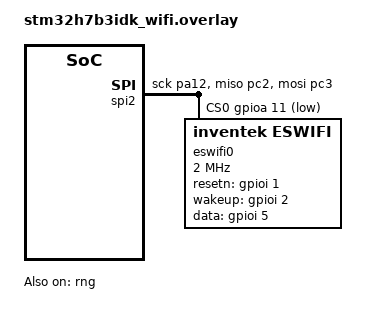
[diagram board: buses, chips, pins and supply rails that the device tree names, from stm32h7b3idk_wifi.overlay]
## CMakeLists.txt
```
cmake_minimum_required(VERSION 3.20.0)

set(DTC_OVERLAY_FILE
    "${CMAKE_CURRENT_SOURCE_DIR}/stm32h7b3idk_wifi.overlay"
    "${CMAKE_CURRENT_SOURCE_DIR}/stm32h7b3idk_backlight.overlay"
)

find_package(Zephyr REQUIRED HINTS $ENV{ZEPHYR_BASE})
project(stm32h7b3i_wifi_demo)

target_include_directories(app PRIVATE
    ${CMAKE_CURRENT_SOURCE_DIR}/include
)

target_sources(app PRIVATE 
    src/main.c
    src/display.c
    src/backlight.c
    src/gui_wifi.c
    src/gui_wifi_scan.c
    src/gui_wifi_register.c
    src/wifi_connection.c
)
```

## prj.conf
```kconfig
# System
CONFIG_MAIN_STACK_SIZE=8192
CONFIG_NET_MGMT_EVENT_STACK_SIZE=4096

# Shell
CONFIG_SHELL=n
CONFIG_NET_SHELL=n
CONFIG_NET_L2_WIFI_SHELL=n
CONFIG_SHELL_BACKEND_SERIAL=n
CONFIG_WIFI_ESWIFI_SHELL=n

# Log
CONFIG_LOG=y
CONFIG_LV_USE_LOG=y

# Display
CONFIG_DISPLAY=y
CONFIG_DISPLAY_LOG_LEVEL_ERR=y

# Touchscreen
CONFIG_INPUT=y

# LVGL
CONFIG_LVGL=y
CONFIG_LV_Z_PARTIAL_REFRESH=y
CONFIG_LV_Z_MEM_POOL_SIZE=65536
CONFIG_LV_DEF_REFR_PERIOD=16

CONFIG_LV_USE_LABEL=y

# LVGL fonts
CONFIG_LV_FONT_MONTSERRAT_14=y
CONFIG_LV_FONT_MONTSERRAT_20=y
CONFIG_LV_FONT_MONTSERRAT_36=y

# Peripherial
CONFIG_GPIO=y
CONFIG_SPI=y
CONFIG_PWM=y

# Network
CONFIG_NETWORKING=y
CONFIG_NET_IPV4=y
CONFIG_WIFI=y

CONFIG_WIFI_ESWIFI=y
CONFIG_WIFI_ESWIFI_BUS_SPI=y
CONFIG_NET_MGMT_EVENT_INFO=y

# Hardware RNG
CONFIG_ENTROPY_GENERATOR=y
CONFIG_ENTROPY_STM32_RNG=y
CONFIG_ENTROPY_DEVICE_RANDOM_GENERATOR=y
```

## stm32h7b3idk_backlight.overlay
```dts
#include <zephyr/dt-bindings/pinctrl/stm32-pinctrl.h>
#include <zephyr/dt-bindings/pwm/pwm.h>

/ {
    backlight {
        compatible = "pwm-leds";

        lcd_backlight: lcd_backlight {
            pwms = <&pwm2 2 50000 PWM_POLARITY_NORMAL>;
            label = "LCD Backlight";
        };
    };
};

&pinctrl {
    lcd_backlight_pwm_pin: lcd_backlight_pwm_pin {
        pinmux = <STM32_PINMUX('A', 1, AF1)>;
    };
};

&timers2 {
    status = "okay";

    pwm2: pwm {
        status = "okay";
        pinctrl-0 = <&lcd_backlight_pwm_pin>;
        pinctrl-names = "default";
    };
};

&ltdc {
    /delete-property/ bl-ctrl-gpios;
};
```

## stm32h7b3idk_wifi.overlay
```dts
#include <zephyr/dt-bindings/gpio/gpio.h>

/ {
    chosen {
        zephyr,entropy = &rng;
    };
};

&rng {
    status = "okay";
};

/ {
    aliases {
        wifi0 = &eswifi0;
    };
};

&fdcan1 {
    status = "disabled";
};

&spi2 {
    pinctrl-0 = <&spi2_sck_pa12
                 &spi2_miso_pc2
                 &spi2_mosi_pc3>;
    pinctrl-names = "default";

    cs-gpios = <&gpioa 11 GPIO_ACTIVE_LOW>;

    status = "okay";

    eswifi0: wifi@0 {
        compatible = "inventek,eswifi";
        reg = <0>;
        spi-max-frequency = <2000000>;

        spi-cs-setup-delay-ns = <15000>;
        spi-cs-hold-delay-ns = <15000>;

        resetn-gpios = <&gpioi 1 GPIO_ACTIVE_HIGH>;
        wakeup-gpios = <&gpioi 2 GPIO_ACTIVE_HIGH>;
        data-gpios = <&gpioi 5 GPIO_ACTIVE_HIGH>;

        status = "okay";
    };
};
```

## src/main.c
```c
/*****************************************************************************
                                    INCLUDES
*****************************************************************************/
#include <zephyr/kernel.h>
#include <zephyr/logging/log.h>

#include <lvgl.h>

#include <display.h>
#include <backlight.h>
#include <theme.h>

#include <gui_wifi.h>
#include <gui_wifi_scan.h>
#include <gui_wifi_register.h>


/*****************************************************************************
                          PRIVATE DEFINES / MACROS
*****************************************************************************/
LOG_MODULE_REGISTER(app_main, LOG_LEVEL_INF);

#define MAIN_LOOP_PERIOD_MS (10U)
#define PERF_PRINT_REPORT   (false)
#define ENABLE_BTN_ANIM     (true)


/*****************************************************************************
                     PRIVATE STRUCTS / ENUMS / VARIABLES
*****************************************************************************/

/*****************************************************************************
                         PRIVATE FUNCTION DECLARATIONS
*****************************************************************************/

/*****************************************************************************
                       PRIVATE FUNCTION IMPLEMENTATIONS
*****************************************************************************/

/*****************************************************************************
                           INTERFACE IMPLEMENTATION
*****************************************************************************/
int main(void)
{
    int ret = 0;

    ret = app_display_init(lv_color_hex(CHOZO_DARK_BLUE));
    if (0 != ret) {
        LOG_ERR("Display initialization failed: %d", ret);
        return 0;
    }

    (void)lv_timer_handler();

    ret = app_display_enable();
    if (0 != ret) {
        LOG_ERR("Failed to enable display: %d", ret);
        return 0;
    }

    backlight_btn_t colors = {
        .background = lv_color_hex(CHOZO_DARK_BLUE),
        .icon = lv_color_hex(DARK_SAMUS_BLUE),
        .border = lv_color_hex(SAMUS_GREEN),
    };
    backlight_button_create(lv_screen_active(), colors, ENABLE_BTN_ANIM);

    app_display_create_version_label(lv_screen_active(), lv_color_hex(SAMUS_GREEN));

    ret = gui_wifi_init(lv_screen_active(), lv_color_hex(CHOZO_DARK_BLUE), 
                        lv_color_hex(SAMUS_GREEN));
    if (0 != ret) {
        LOG_ERR("Wi-Fi GUI initialization failed: %d", ret);
    return 0;
    }

    while (true) {
        gui_wifi_scan_process();
        gui_wifi_process();

        (void)lv_timer_handler();
        k_sleep(K_MSEC(MAIN_LOOP_PERIOD_MS));
    }
}
```

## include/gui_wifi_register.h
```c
/**
 * @file gui_wifi_register.h
 * @brief Wi-Fi connection registration and LVGL user interface.
 *
 * Provides functions for managing network credentials through
 * an on-screen keyboard, initiating connection and disconnection,
 * and updating the interface based on Wi-Fi connection states.
 */

#ifndef GUI_WIFI_REGISTER_H
#define GUI_WIFI_REGISTER_H

/*****************************************************************************
                                    INCLUDES
*****************************************************************************/
#include <lvgl.h>


/*****************************************************************************
                       PUBLIC DEFINES / MACROS / ENUMS
*****************************************************************************/

/*****************************************************************************
                         PUBLIC INTERFACE DECLARATION
*****************************************************************************/
/**
 * @brief Create the Wi-Fi registration UI on an existing screen.
 * @param [in] screen Registration screen created by the GUI navigation module.
 * @param [in] accent Accent color used by the application theme.
 * @return 0 on success, negative errno on failure.
 */
int gui_wifi_register_init(lv_obj_t *screen, lv_color_t accent);

/**
 * @brief Refresh the registration screen when entering it.
 */
void gui_wifi_register_open(void);

/**
 * @brief Process pending Wi-Fi connection events.
 * @note Must be called periodically from the LVGL thread.
 */
void gui_wifi_register_process(void);

/**
 * @brief Clear the password and reset keyboard focus when leaving the screen.
 */
void gui_wifi_register_close(void);

#endif // GUI_WIFI_REGISTER_H
```

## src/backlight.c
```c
/*****************************************************************************
                                    INCLUDES
*****************************************************************************/
#include <backlight.h>

#include <zephyr/device.h>
#include <zephyr/devicetree.h>
#include <zephyr/drivers/pwm.h>
#include <zephyr/kernel.h>
#include <zephyr/logging/log.h>


/*****************************************************************************
                          PRIVATE DEFINES / MACROS
*****************************************************************************/
LOG_MODULE_REGISTER(backlight, LOG_LEVEL_INF);

#define BACKLIGHT_NODE DT_NODELABEL(lcd_backlight)
#define BACKLIGHT_LOW_PERCENT   (35U)
#define BACKLIGHT_HIGH_PERCENT  (85U)
#define BACKLIGHT_PERCENT_MAX   (100U)


/*****************************************************************************
                     PRIVATE STRUCTS / ENUMS / VARIABLES
*****************************************************************************/
static bool backlight_high = true;
static lv_obj_t *backlight_button = NULL;
static lv_obj_t *backlight_icon = NULL;

static const struct pwm_dt_spec backlight = PWM_DT_SPEC_GET(BACKLIGHT_NODE);


/*****************************************************************************
                         PRIVATE FUNCTION DECLARATIONS
*****************************************************************************/

/*****************************************************************************
                       PRIVATE FUNCTION IMPLEMENTATIONS
*****************************************************************************/
static void backlight_button_cb(lv_event_t *event)
{
    int ret = 0;
    uint32_t brightness = BACKLIGHT_LOW_PERCENT;

    ARG_UNUSED(event);

    brightness = (true == backlight_high) ? (BACKLIGHT_LOW_PERCENT) : (BACKLIGHT_HIGH_PERCENT);
    ret = backlight_set_brightness(brightness);
    if (0 != ret) {
        LOG_ERR("Backlight PWM error: %d", ret);
        return;
    }

    backlight_high = !backlight_high;
    lv_label_set_text(backlight_icon, (true == backlight_high) ? (LV_SYMBOL_EYE_OPEN) : (LV_SYMBOL_EYE_CLOSE));
}


/*****************************************************************************
                           INTERFACE IMPLEMENTATION
*****************************************************************************/
int backlight_set_brightness(uint32_t percent)
{
    uint32_t pulse_ns = 0U;

    if (BACKLIGHT_PERCENT_MAX < percent) {
        return -EINVAL;
    }

    pulse_ns = (uint32_t)(((uint64_t)backlight.period * percent) / BACKLIGHT_PERCENT_MAX);
    return pwm_set_dt(&backlight, backlight.period, pulse_ns);
}

uint32_t backlight_get_brightness(void)
{
    return (true == backlight_high) ? (BACKLIGHT_HIGH_PERCENT) : (BACKLIGHT_LOW_PERCENT);
}

void backlight_button_create(lv_obj_t *screen, backlight_btn_t colors, bool enable_anim)
{
    backlight_button = lv_button_create(screen);

    if (true != enable_anim) {
        lv_obj_remove_style_all(backlight_button);
    }

    lv_obj_set_size(backlight_button, 42, 42);
    lv_obj_align(backlight_button, LV_ALIGN_TOP_LEFT, 8, 8);
    lv_obj_set_style_radius(backlight_button, LV_RADIUS_CIRCLE, 0);
    lv_obj_set_style_bg_color(backlight_button, colors.background, 0);
    lv_obj_set_style_bg_opa(backlight_button, LV_OPA_COVER, 0);

    lv_obj_set_style_border_width(backlight_button, 2, 0);
    lv_obj_set_style_border_color(backlight_button, colors.border, 0);

    lv_obj_add_event_cb(backlight_button, backlight_button_cb, LV_EVENT_CLICKED, NULL);

    backlight_icon = lv_label_create(backlight_button);
    lv_label_set_text(backlight_icon, LV_SYMBOL_EYE_OPEN);
    lv_obj_center(backlight_icon);
    lv_obj_set_style_text_color(backlight_icon, colors.icon, 0);
}

int backlight_init(void) 
{
    int ret = 0;

    if (true != pwm_is_ready_dt(&backlight)) {
        LOG_ERR("Backlight PWM device not ready");
        return -ENODEV;
    }

    ret = backlight_set_brightness(BACKLIGHT_HIGH_PERCENT);
    if (0 != ret) {
        LOG_ERR("Backlight PWM error: %d", ret);
    }

    return ret;
}
```

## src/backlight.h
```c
/**
 * @file backlight.h
 * @brief LCD backlight control and LVGL user interface.
 *
 * Provides an interface for initializing the LCD backlight
 * and creating an LVGL button to control its brightness.
 */

#ifndef BACKLIGHT_H
#define BACKLIGHT_H

/*****************************************************************************
                                    INCLUDES
*****************************************************************************/
#include <stdint.h>

#include <lvgl.h>


/*****************************************************************************
                       PUBLIC DEFINES / MACROS / ENUMS
*****************************************************************************/

/*****************************************************************************
                         PUBLIC INTERFACE DECLARATION
*****************************************************************************/
/**
 * @brief Color configuration for the backlight control button.
 * @note Defines the colors used by the LVGL backlight button and its graphical elements.
 */
typedef struct {
    lv_color_t background;
    lv_color_t icon;
    lv_color_t border;
} backlight_btn_t;

/**
 * @brief Create an LVGL button for controlling the LCD backlight.
 * @param [in] screen Parent LVGL object.
 * @param [in] colors Color configuration for the button.
 * @param [in] enable_anim Enable button animation.
 */
void backlight_button_create(lv_obj_t *screen, backlight_btn_t colors, bool enable_anim);

/**
 * @brief Initialize the LCD backlight.
 * @return 0 Initialization completed successfully, error code if initialization fails.
 */
int backlight_init(void);

/**
 * @brief Set LCD backlight brightness.
 * @param[in] percent Brightness in the range 0-100%.
 * @retval 0 Brightness updated successfully.
 * @retval <0 PWM configuration failed.
 */
int backlight_set_brightness(uint32_t percent);

/**
 * @brief Get the user-selected backlight brightness.
 * @return Brightness percentage.
 */
uint32_t backlight_get_brightness(void);

#endif // BACKLIGHT_H
```

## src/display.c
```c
/*****************************************************************************
                                    INCLUDES
*****************************************************************************/
#include <errno.h>
#include <stdio.h>

#include <zephyr/device.h>
#include <zephyr/devicetree.h>
#include <zephyr/drivers/display.h>
#include <zephyr/logging/log.h>
#include <zephyr/version.h>

#include <lvgl.h>

#include <backlight.h>
#include <display.h>
#include <theme.h>


/*****************************************************************************
                          PRIVATE DEFINES / MACROS
*****************************************************************************/
LOG_MODULE_REGISTER(app_display, LOG_LEVEL_INF);

#define VERSION_TEXT_SIZE   (64U)
#define VERSION_LABEL_Y_POS (12)


/*****************************************************************************
                     PRIVATE STRUCTS / ENUMS / VARIABLES
*****************************************************************************/
static const struct device *display_dev = DEVICE_DT_GET(DT_CHOSEN(zephyr_display));


/*****************************************************************************
                         PRIVATE FUNCTION DECLARATIONS
*****************************************************************************/

/*****************************************************************************
                       PRIVATE FUNCTION IMPLEMENTATIONS
*****************************************************************************/

/*****************************************************************************
                           INTERFACE IMPLEMENTATION
*****************************************************************************/
int app_display_init(lv_color_t color_bg)
{
    lv_display_t *display = NULL;
    lv_obj_t *screen = NULL;

    if (false == device_is_ready(display_dev)) {
        LOG_ERR("Display device not ready");
        return -ENODEV;
    }

    display = lv_display_get_default();
    if (NULL == display) {
        LOG_ERR("No LVGL display");
        return -ENODEV;
    }

    screen = lv_screen_active();
    if (NULL == screen) {
        LOG_ERR("No active LVGL screen");
        return -ENODEV;
    }

    lv_obj_set_style_bg_color(screen, color_bg, LV_PART_MAIN);
    lv_obj_set_style_bg_opa(screen, LV_OPA_COVER, LV_PART_MAIN);

    lv_obj_set_scrollable(screen, false);

    return 0;
}

int app_display_enable(void)
{
    int ret = 0;

    ret = display_blanking_off(display_dev);
    if ((0 > ret) && (-ENOSYS != ret)) {
        LOG_ERR("Failed to disable display blanking: %d", ret);
        return ret;
    }

    ret = backlight_init();
    if (0 != ret) {
        LOG_WRN("Backlight initialization failed: %d", ret);
    }

    return 0;
}

void app_display_create_version_label(lv_obj_t *screen, lv_color_t text_color)
{
    if (NULL == screen) {
        return;
    }

    lv_obj_t *version_label = NULL;
    char version_text[VERSION_TEXT_SIZE] = {0};

    (void)snprintf(version_text, sizeof(version_text),
                   "Zephyr %u.%u x LVGL %u.%u",
                   (unsigned int)KERNEL_VERSION_MAJOR, (unsigned int)KERNEL_VERSION_MINOR,
                   (unsigned int)lv_version_major(), (unsigned int)lv_version_minor());
    version_label = lv_label_create(screen);
    if (NULL == version_label) {
        LOG_ERR("Failed to create version label");
        return;
    }

    lv_label_set_text(version_label, version_text);
    lv_obj_set_style_text_font(version_label, &lv_font_montserrat_20, LV_PART_MAIN);
    lv_obj_set_style_text_color(version_label, text_color, LV_PART_MAIN);
    lv_obj_set_style_text_align(version_label, LV_TEXT_ALIGN_CENTER, LV_PART_MAIN);
    lv_obj_align(version_label, LV_ALIGN_TOP_MID, 0, VERSION_LABEL_Y_POS);
}
```

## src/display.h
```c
/**
 * @file display.h
 * @brief Display initialization and LVGL user interface setup.
 *
 * Provides functions for initializing the application display,
 * configuring the LVGL screen, and enabling the LCD backlight.
 */

#ifndef DISPLAY_H
#define DISPLAY_H

/*****************************************************************************
                                    INCLUDES
*****************************************************************************/
#include <lvgl.h>


/*****************************************************************************
                       PUBLIC DEFINES / MACROS / ENUMS
*****************************************************************************/

/*****************************************************************************
                         PUBLIC INTERFACE DECLARATION
*****************************************************************************/
/**
 * @brief Initialize the display user interface.
 * @param [in] color_bg Screen backgroud color.
 * @retval 0 Initialization completed successfully.
 * @retval -ENODEV Display device or LVGL display is unavailable.
 */
int app_display_init(lv_color_t color_bg);

/**
 * @brief Enable the display and initialize its backlight.
 * @retval 0 Display enabled successfully.
 * @retval <0 Failed to disable display blanking.
 */
int app_display_enable(void);

/**
 * @brief Create an LVGL label displaying Zephyr and LVGL versions.
 * @param [in] screen Parent LVGL object.
 * @param [in] text_color Text color.
 */
void app_display_create_version_label(lv_obj_t *screen, lv_color_t text_color);

#endif // DISPLAY_H
```

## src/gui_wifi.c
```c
/*****************************************************************************
                                    INCLUDES
*****************************************************************************/
#include <stdio.h>
#include <string.h>
#include <errno.h>

#include <lvgl.h>

#include <gui_wifi.h>
#include <gui_wifi_scan.h>
#include <gui_wifi_register.h>
#include <wifi_connection.h>
#include <gui_wifi_register.h>
#include <backlight.h>


/*****************************************************************************
                          PRIVATE DEFINES / MACROS
*****************************************************************************/
#define WIFI_BUTTON_WIDTH       (130)
#define WIFI_BUTTON_HEIGHT      (45)
#define WIFI_BUTTON_OFFSET_X    (80)
#define WIFI_BUTTON_OFFSET_Y    (-15)

#define WIFI_CLOSE_BUTTON_SIZE  (36)
#define WIFI_CLOSE_OFFSET       (10)

#define WIFI_TITLE_OFFSET_Y     (15)

#define WIFI_INFO_MAC_X         (15)
#define WIFI_INFO_MAC_Y         (70)
#define WIFI_INFO_IP_X          (15)
#define WIFI_INFO_IP_Y          (125)

#define WIFI_INFO_TEXT_SIZE     (48U)

#define WIFI_SCREEN_FADE_MS     (500U)
#define WIFI_INFO_REFRESH_PERIOD_MS (1000U)


/*****************************************************************************
                     PRIVATE STRUCTS / ENUMS / VARIABLES
*****************************************************************************/
static lv_obj_t *scan_screen = NULL;
static lv_obj_t *register_screen = NULL;

static lv_obj_t *fade_overlay = NULL;
static lv_obj_t *fade_target = NULL;
static lv_obj_t *fade_source = NULL;
static bool fade_screen_loaded = false;
static gui_wifi_content_callback_t fade_content_callback = NULL;
static bool fade_content_transition = false;

static lv_obj_t *wifi_mac_label = NULL;
static lv_obj_t *wifi_ip_label = NULL;

static lv_obj_t *register_button_label = NULL;

static uint32_t fade_start_brightness = 0U;


/*****************************************************************************
                         PRIVATE FUNCTION DECLARATIONS
*****************************************************************************/

/*****************************************************************************
                       PRIVATE FUNCTION IMPLEMENTATIONS
*****************************************************************************/
static void gui_wifi_fade_exec(void *obj, int32_t brightness)
{
    (void)obj;

    (void)backlight_set_brightness((uint32_t)brightness);

    if ((false == fade_screen_loaded) && (0 == brightness)) {
        fade_screen_loaded = true;

        if (true == fade_content_transition) {
            if (NULL != fade_content_callback) {
                fade_content_callback();
            }
        }
        else if (NULL != fade_target) {
            lv_screen_load(fade_target);
        }
    }
}


static void gui_wifi_fade_completed(lv_anim_t *anim)
{
    (void)anim;

    (void)backlight_set_brightness(fade_start_brightness);

    if (NULL != fade_overlay) {
        lv_obj_delete(fade_overlay);
        fade_overlay = NULL;
    }

    if (true == fade_content_transition) {
        fade_content_transition = false;
        fade_content_callback = NULL;

        fade_target = NULL;
        fade_source = NULL;
        fade_screen_loaded = false;

        return;
    }

    fade_target = NULL;
    fade_screen_loaded = false;

    if ((scan_screen == fade_source) && (scan_screen != lv_screen_active())) {
        gui_wifi_scan_close();
    }

    if ((register_screen == fade_source) && (register_screen != lv_screen_active())) {
        gui_wifi_register_close();
    }

    fade_source = NULL;

    if (scan_screen == lv_screen_active()) {
        gui_wifi_scan_start();
    }

    if (register_screen == lv_screen_active()) {
        gui_wifi_register_open();
    }
}

static bool gui_wifi_start_fade(void)
{
    lv_anim_t anim;

    if (NULL != fade_overlay) {
        return false;
    }

    fade_start_brightness = backlight_get_brightness();
    fade_screen_loaded = false;

    fade_overlay = lv_obj_create(lv_layer_top());
    if (NULL == fade_overlay) {
        return false;
    }

    lv_obj_remove_style_all(fade_overlay);

    lv_obj_set_size(fade_overlay, LV_PCT(100), LV_PCT(100));
    lv_obj_set_pos(fade_overlay, 0, 0);

    lv_obj_set_scrollable(fade_overlay, false);
    lv_obj_set_clickable(fade_overlay, true);

    lv_anim_init(&anim);
    lv_anim_set_var(&anim, fade_overlay);
    lv_anim_set_exec_cb(&anim, gui_wifi_fade_exec);

    lv_anim_set_values(&anim, (int32_t)fade_start_brightness, 0);
    lv_anim_set_duration(&anim, WIFI_SCREEN_FADE_MS);
    lv_anim_set_playback_duration(&anim, WIFI_SCREEN_FADE_MS);

    lv_anim_set_path_cb(&anim, lv_anim_path_ease_in_out);
    lv_anim_set_completed_cb(&anim, gui_wifi_fade_completed);

    if (NULL == lv_anim_start(&anim)) {
        lv_obj_delete(fade_overlay);
        fade_overlay = NULL;

        return false;
    }

    return true;
}

static void gui_wifi_switch_screen(lv_obj_t *target)
{
    if ((NULL == target) || (NULL != fade_overlay) || (target == lv_screen_active())) {
        return;
    }

    fade_target = target;
    fade_source = lv_screen_active();

    fade_content_transition = false;
    fade_content_callback = NULL;

    if (false == gui_wifi_start_fade()) {
        fade_target = NULL;
        fade_source = NULL;

        lv_screen_load(target);
    }
}

bool gui_wifi_transition_content(gui_wifi_content_callback_t callback)
{
    if ((NULL == callback) || (NULL != fade_overlay)) {
        return false;
    }

    fade_target = NULL;
    fade_source = NULL;

    fade_content_transition = true;
    fade_content_callback = callback;

    if (false == gui_wifi_start_fade()) {
        fade_content_transition = false;
        fade_content_callback = NULL;

        callback();

        return false;
    }

    return true;
}

static void gui_wifi_navigate(lv_event_t *event)
{
    lv_obj_t *target = (lv_obj_t *)lv_event_get_user_data(event);
    gui_wifi_switch_screen(target);
}

static lv_obj_t *gui_wifi_create_button(lv_obj_t *parent, const char *text, lv_obj_t *target,
                                        lv_color_t background, lv_color_t foreground)
{
    lv_obj_t *button = lv_button_create(parent);
    if (NULL == button) {
        return NULL;
    }

    lv_obj_t *label = lv_label_create(button);
    if (NULL == label) {
        lv_obj_delete(button);
        return NULL;
    }

    lv_obj_set_style_bg_color(button, background, LV_PART_MAIN);
    lv_label_set_text(label, text);
    lv_obj_set_style_text_color(label, foreground, LV_PART_MAIN);
    lv_obj_center(label);

    lv_obj_add_event_cb(button, gui_wifi_navigate, LV_EVENT_CLICKED, target);

    return button;
}

static lv_obj_t *gui_wifi_create_screen(lv_obj_t *home, const char *title,
                                        lv_color_t background, lv_color_t accent)
{
    lv_obj_t *screen = lv_obj_create(NULL);
    if (NULL == screen) {
        return NULL;
    }

    lv_obj_set_style_bg_color(screen, background, LV_PART_MAIN);
    lv_obj_set_style_bg_opa(screen, LV_OPA_COVER, LV_PART_MAIN);
    lv_obj_set_scrollable(screen, false);

    lv_obj_t *label = lv_label_create(screen);
    if (NULL == label) {
        lv_obj_delete(screen);
        return NULL;
    }

    lv_label_set_text(label, title);
    lv_obj_set_style_text_color(label, accent, LV_PART_MAIN);
    lv_obj_set_style_text_font(label, &lv_font_montserrat_20, LV_PART_MAIN);
    lv_obj_align(label, LV_ALIGN_TOP_MID, 0, WIFI_TITLE_OFFSET_Y);

    lv_obj_t *close = gui_wifi_create_button(screen, "X", home, accent, background);
    if (NULL == close) {
        lv_obj_delete(screen);
        return NULL;
    }

    lv_obj_set_size(close, WIFI_CLOSE_BUTTON_SIZE, WIFI_CLOSE_BUTTON_SIZE);
    lv_obj_align(close, LV_ALIGN_TOP_RIGHT, -WIFI_CLOSE_OFFSET, WIFI_CLOSE_OFFSET);

    return screen;
}

static int wifi_gui_create_info_labels(lv_obj_t *screen, lv_color_t accent)
{
    if (NULL == screen) {
        return -EINVAL;
    }

    wifi_mac_label = lv_label_create(screen);
    if (NULL == wifi_mac_label) {
        return -ENOMEM;
    }

    lv_obj_set_pos(wifi_mac_label, WIFI_INFO_MAC_X, WIFI_INFO_MAC_Y);

    lv_obj_set_style_text_color(wifi_mac_label, accent, LV_PART_MAIN);
    lv_obj_set_style_text_font(wifi_mac_label, &lv_font_montserrat_36, LV_PART_MAIN);
    lv_label_set_text(wifi_mac_label, "MAC: --");

    wifi_ip_label = lv_label_create(screen);
    if (NULL == wifi_ip_label) {
        return -ENOMEM;
    }

    lv_obj_set_pos(wifi_ip_label, WIFI_INFO_IP_X, WIFI_INFO_IP_Y);

    lv_obj_set_style_text_color(wifi_ip_label, accent, LV_PART_MAIN);
    lv_obj_set_style_text_font(wifi_ip_label, &lv_font_montserrat_36, LV_PART_MAIN);
    lv_label_set_text(wifi_ip_label, "IP: --");

    return 0;
}

static void wifi_gui_update_info(void)
{
    char mac[WIFI_CONNECTION_MAC_TEXT_SIZE] = {0};
    char ip[WIFI_CONNECTION_IPV4_TEXT_SIZE] = {0};
    char text[WIFI_INFO_TEXT_SIZE] = {0};

    if (NULL != wifi_mac_label) {
        if (0 == wifi_connection_get_mac(mac, sizeof(mac))) {
            (void)snprintf(text, sizeof(text), "MAC: %s", mac);
        } else {
            (void)snprintf(text, sizeof(text), "MAC: --");
        }

        lv_label_set_text(wifi_mac_label, text);
    }

    if (NULL != wifi_ip_label) {
        if (0 == wifi_connection_get_ipv4(ip, sizeof(ip))) {
            (void)snprintf(text, sizeof(text), "IP: %s", ip);
        } else {
            (void)snprintf(text, sizeof(text), "IP: --");
        }

        lv_label_set_text(wifi_ip_label, text);
    }
}

static void wifi_gui_update_register_button(void)
{
    enum wifi_connection_state state = wifi_connection_get_state();
    const char *text = "REGISTER";

    if (NULL == register_button_label) {
        return;
    }

    if ((WIFI_CONNECTION_CONNECTED == state) ||
        (WIFI_CONNECTION_DISCONNECTING == state)) {
        text = "WI-FI";
    }

    lv_label_set_text(register_button_label, text);
    lv_obj_center(register_button_label);
}


/*****************************************************************************
                           INTERFACE IMPLEMENTATION
*****************************************************************************/
int gui_wifi_init(lv_obj_t *screen, lv_color_t background, lv_color_t accent)
{
    lv_obj_t *scan_button = NULL;
    lv_obj_t *register_button = NULL;
    int ret = 0;

    if (NULL == screen) {
        return -EINVAL;
    }

    if ((NULL != scan_screen) || (NULL != register_screen)) {
        return -EALREADY;
    }

    ret = wifi_connection_init();
    if (0 != ret) {
        return ret;
    }

    scan_screen = gui_wifi_create_screen(screen, "Wi-Fi Scan", background, accent);
    if (NULL == scan_screen) {
        return -ENOMEM;
    }

    register_screen = gui_wifi_create_screen(screen, "Wi-Fi Register", background, accent);
    if (NULL == register_screen) {
        lv_obj_delete(scan_screen);
        scan_screen = NULL;

        return -ENOMEM;
    }

    ret = gui_wifi_scan_init(scan_screen, accent);
    if (0 != ret) {
        lv_obj_delete(scan_screen);
        lv_obj_delete(register_screen);

        scan_screen = NULL;
        register_screen = NULL;

        return ret;
    }

    ret = gui_wifi_register_init(register_screen, accent);
    if (0 != ret) {
        lv_obj_delete(scan_screen);
        lv_obj_delete(register_screen);

        scan_screen = NULL;
        register_screen = NULL;

        return ret;
    }

    scan_button = gui_wifi_create_button(screen, "SCAN", scan_screen, accent, background);
    register_button = gui_wifi_create_button(screen, "REGISTER", register_screen, accent, background);

    if ((NULL == scan_button) || (NULL == register_button)) {
        if (NULL != scan_button) {
            lv_obj_delete(scan_button);
        }

        if (NULL != register_button) {
            lv_obj_delete(register_button);
        }

        lv_obj_delete(scan_screen);
        lv_obj_delete(register_screen);

        scan_screen = NULL;
        register_screen = NULL;

        return -ENOMEM;
    }

    register_button_label = lv_obj_get_child(register_button, 0);

    ret = wifi_gui_create_info_labels(screen, accent);
    if (0 != ret) {
        return ret;
    }

    wifi_gui_update_info();
    wifi_gui_update_register_button();

    lv_obj_set_size(scan_button, WIFI_BUTTON_WIDTH, WIFI_BUTTON_HEIGHT);
    lv_obj_align(scan_button, LV_ALIGN_BOTTOM_MID, -WIFI_BUTTON_OFFSET_X, WIFI_BUTTON_OFFSET_Y);

    lv_obj_set_size(register_button, WIFI_BUTTON_WIDTH, WIFI_BUTTON_HEIGHT);
    lv_obj_align(register_button, LV_ALIGN_BOTTOM_MID, WIFI_BUTTON_OFFSET_X, WIFI_BUTTON_OFFSET_Y);

    return 0;
}

void gui_wifi_process(void)
{
    static enum wifi_connection_state previous_state = WIFI_CONNECTION_DISCONNECTED;
    static uint32_t last_update = 0U;

    enum wifi_connection_state state = WIFI_CONNECTION_DISCONNECTED;
    bool state_changed = false;

    gui_wifi_register_process();

    state = wifi_connection_get_state();
    state_changed = (previous_state != state);

    if ((true == state_changed) ||
        (WIFI_INFO_REFRESH_PERIOD_MS <= lv_tick_elaps(last_update))) {

        wifi_gui_update_info();
        wifi_gui_update_register_button();

        previous_state = state;
        last_update = lv_tick_get();
    }
}
```

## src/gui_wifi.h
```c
/**
 * @file gui_wifi.h
 * @brief Main Wi-Fi graphical interface and screen navigation.
 *
 * Provides functions for initializing the Wi-Fi user interface,
 * managing screen transitions with PWM backlight animations,
 * and displaying network interface information.
 */

#ifndef GUI_WIFI_H
#define GUI_WIFI_H

/*****************************************************************************
                                    INCLUDES
*****************************************************************************/
#include <lvgl.h>


/*****************************************************************************
                       PUBLIC DEFINES / MACROS / ENUMS
*****************************************************************************/

/*****************************************************************************
                         PUBLIC INTERFACE DECLARATION
*****************************************************************************/
/**
 * @brief Initialize the Wi-Fi management interface.
 * @param[in] screen Main LVGL screen.
 * @param[in] background Background color.
 * @param[in] accent Accent color for buttons and labels.
 * @retval 0 Initialization completed successfully.
 * @retval -EINVAL Invalid screen pointer.
 * @retval -ENOMEM Failed to create an LVGL object.
 * @retval -EALREADY Interface already initialized.
 */
int gui_wifi_init(lv_obj_t *screen, lv_color_t background, lv_color_t accent);

/**
 * @brief Process Wi-Fi GUI state and network information.
 * @note Must be called periodically from the LVGL thread.
 */
void gui_wifi_process(void);

typedef void (*gui_wifi_content_callback_t)(void);

/**
 * @brief Animate a content change using the display backlight.
 * @param [in] callback Function executed with backlight brightness at zero.
 * @return true if transition was started, false otherwise.
 */
bool gui_wifi_transition_content(gui_wifi_content_callback_t callback);

#endif // GUI_WIFI_H
```

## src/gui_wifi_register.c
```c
/*****************************************************************************
                                    INCLUDES
*****************************************************************************/
#include <errno.h>
#include <stdint.h>

#include <lvgl.h>
#include <theme.h>
#include <gui_wifi.h>
#include <gui_wifi_register.h>
#include <wifi_connection.h>


/*****************************************************************************
                          PRIVATE DEFINES / MACROS
*****************************************************************************/
#define WIFI_REGISTER_SSID_X                (15)
#define WIFI_REGISTER_PASSWORD_X            (210)
#define WIFI_REGISTER_CONNECT_X             (375)
#define WIFI_REGISTER_FIELDS_Y              (55)
#define WIFI_REGISTER_SSID_WIDTH            (185)
#define WIFI_REGISTER_PASSWORD_WIDTH        (155)
#define WIFI_REGISTER_CONNECT_WIDTH         (90)
#define WIFI_REGISTER_FIELDS_HEIGHT         (34)

#define WIFI_REGISTER_STATUS_X              (15)
#define WIFI_REGISTER_STATUS_Y              (96)
#define WIFI_REGISTER_STATUS_WIDTH          (450)

#define WIFI_REGISTER_KEYBOARD_X            (10)
#define WIFI_REGISTER_KEYBOARD_Y            (115)
#define WIFI_REGISTER_KEYBOARD_WIDTH        (460)
#define WIFI_REGISTER_KEYBOARD_HEIGHT       (147)

#define WIFI_REGISTER_SSID_MAX_LENGTH       (32U)
#define WIFI_REGISTER_PASSPHRASE_MAX_LENGTH (63U)
#define WIFI_REGISTER_FIELD_PAD_H           (7)
#define WIFI_REGISTER_FIELD_PAD_V           (6)
#define WIFI_REGISTER_KEYBOARD_PAD          (2)
#define WIFI_REGISTER_KEYBOARD_GAP          (2)
#define WIFI_REGISTER_KEYBOARD_RADIUS       (3)
#define WIFI_REGISTER_FIELD_RADIUS          (4)

#define WIFI_REGISTER_DISCONNECT_WIDTH      (130)


/*****************************************************************************
                     PRIVATE STRUCTS / ENUMS / VARIABLES
*****************************************************************************/
static lv_obj_t *register_screen = NULL;
static lv_obj_t *ssid_textarea = NULL;
static lv_obj_t *password_textarea = NULL;
static lv_obj_t *register_keyboard = NULL;
static lv_obj_t *register_status = NULL;
static lv_obj_t *register_action_button = NULL;
static lv_obj_t *register_action_label = NULL;

static bool register_layout_connected = false;


/*****************************************************************************
                         PRIVATE FUNCTION DECLARATIONS
*****************************************************************************/

/*****************************************************************************
                       PRIVATE FUNCTION IMPLEMENTATIONS
*****************************************************************************/
static void gui_wifi_register_set_status(const char *text)
{
    if (NULL != register_status) {
        lv_label_set_text(register_status, text);
    }
}

static void gui_wifi_register_textarea_event(lv_event_t *event)
{
    lv_event_code_t code = lv_event_get_code(event);
    lv_obj_t *textarea = (lv_obj_t *)lv_event_get_target(event);

    if (((LV_EVENT_CLICKED == code) || (LV_EVENT_FOCUSED == code)) &&
        (NULL != register_keyboard)) {
        lv_keyboard_set_textarea(register_keyboard, textarea);
    }
}

static void gui_wifi_register_keyboard_event(lv_event_t *event)
{
    lv_event_code_t code = lv_event_get_code(event);

    if (LV_EVENT_READY == code) {
        // The keyboard's OK key changes focus, it does not connect.
        if (ssid_textarea == lv_keyboard_get_textarea(register_keyboard)) {
            lv_keyboard_set_textarea(register_keyboard, password_textarea);
            lv_obj_add_state(password_textarea, LV_STATE_FOCUSED);
        }
    }
    else if (LV_EVENT_CANCEL == code) {
        // Keep the on-screen keyboard visible and usable.
        lv_keyboard_set_textarea(register_keyboard, ssid_textarea);
    }
}

static bool wifi_gui_register_is_connected_layout(void)
{
    enum wifi_connection_state state = wifi_connection_get_state();

    return ((WIFI_CONNECTION_CONNECTED == state) || (WIFI_CONNECTION_DISCONNECTING == state));
}

static void wifi_gui_register_apply_layout(bool connected)
{
    if ((NULL == ssid_textarea) || (NULL == password_textarea) ||
        (NULL == register_keyboard) || (NULL == register_action_button) ||
        (NULL == register_action_label)) {
        return;
    }

    lv_obj_set_hidden(ssid_textarea, connected);
    lv_obj_set_hidden(password_textarea, connected);
    lv_obj_set_hidden(register_keyboard, connected);

    if (true == connected) {
        lv_label_set_text(register_action_label, "Disconnect");

        lv_obj_set_pos(register_action_button, WIFI_REGISTER_SSID_X, WIFI_REGISTER_FIELDS_Y);
        lv_obj_set_width(register_action_button, WIFI_REGISTER_DISCONNECT_WIDTH);
    } else {
        lv_label_set_text(register_action_label, "Connect");

        lv_obj_set_pos(register_action_button, WIFI_REGISTER_CONNECT_X, WIFI_REGISTER_FIELDS_Y);
        lv_obj_set_width(register_action_button, WIFI_REGISTER_CONNECT_WIDTH);
    }

    lv_obj_center(register_action_label);

    register_layout_connected = connected;
}

static void wifi_gui_register_update_layout(void)
{
    bool connected = wifi_gui_register_is_connected_layout();

    wifi_gui_register_apply_layout(connected);
}

static void gui_wifi_register_refresh(void)
{
    enum wifi_connection_state state = wifi_connection_get_state();
    bool connected = false;
    bool busy = false;

    connected = ((WIFI_CONNECTION_CONNECTED == state) || (WIFI_CONNECTION_DISCONNECTING == state));
    busy = ((WIFI_CONNECTION_CONNECTING == state) || (WIFI_CONNECTION_DISCONNECTING == state));

    if ((NULL == register_action_button) || (NULL == register_action_label)) {
        return;
    }

    // Update connection status immediately.
    switch (state) {
    case WIFI_CONNECTION_CONNECTED:
        gui_wifi_register_set_status("Connected");
        break;

    case WIFI_CONNECTION_CONNECTING:
        gui_wifi_register_set_status("Connecting...");
        break;

    case WIFI_CONNECTION_DISCONNECTING:
        gui_wifi_register_set_status("Disconnecting...");
        break;

    case WIFI_CONNECTION_FAILED:
        gui_wifi_register_set_status("Connection failed");
        break;

    case WIFI_CONNECTION_DISCONNECTED:
    default:
        gui_wifi_register_set_status("Disconnected");
        break;
    }

    // Update layout immediately when Register is not active.
    if (register_screen != lv_screen_active()) {
        wifi_gui_register_apply_layout(connected);
    }
    else if (register_layout_connected != connected) {
        (void)gui_wifi_transition_content(wifi_gui_register_update_layout);
    }

    lv_obj_set_state(register_action_button, LV_STATE_DISABLED, busy);
}

static void gui_wifi_register_connect_event(lv_event_t *event)
{
    enum wifi_connection_state state = WIFI_CONNECTION_DISCONNECTED;
    const char *ssid = NULL;
    const char *password = NULL;
    int ret = 0;

    if (LV_EVENT_CLICKED != lv_event_get_code(event)) {
        return;
    }

    state = wifi_connection_get_state();
    if (WIFI_CONNECTION_CONNECTED == state) {
        ret = wifi_connection_disconnect();
        if (0 != ret) {
            gui_wifi_register_set_status("Disconnect request failed");
            return;
        }

        gui_wifi_register_refresh();
        return;
    }

    if ((WIFI_CONNECTION_CONNECTING == state) || (WIFI_CONNECTION_DISCONNECTING == state)) {
        return;
    }

    ssid = lv_textarea_get_text(ssid_textarea);
    password = lv_textarea_get_text(password_textarea);

    if ((NULL == ssid) || ('\0' == ssid[0])) {
        gui_wifi_register_set_status("Enter SSID");
        lv_keyboard_set_textarea(register_keyboard, ssid_textarea);
        return;
    }

    if ((NULL == password) || ('\0' == password[0])) {
        gui_wifi_register_set_status("Enter password");
        lv_keyboard_set_textarea(register_keyboard, password_textarea);
        return;
    }

    ret = wifi_connection_connect(ssid, password);
    if (0 != ret) {
        gui_wifi_register_set_status("Connection request failed");
        return;
    }

    gui_wifi_register_refresh();
}

static lv_obj_t *gui_wifi_register_create_textarea(lv_obj_t *screen, const char *placeholder,
                                                   int32_t x, int32_t width, uint32_t max_length,
                                                   bool password_mode, lv_color_t accent)
{
    lv_obj_t *textarea = lv_textarea_create(screen);
    if (NULL == textarea) {
        return NULL;
    }

    lv_obj_set_pos(textarea, x, WIFI_REGISTER_FIELDS_Y);
    lv_obj_set_size(textarea, width, WIFI_REGISTER_FIELDS_HEIGHT);
    lv_obj_set_style_bg_color(textarea, lv_color_hex(CHOZO_DARK_BLUE), LV_PART_MAIN);
    lv_obj_set_style_bg_opa(textarea, LV_OPA_COVER, LV_PART_MAIN);
    lv_obj_set_style_border_color(textarea, accent, LV_PART_MAIN);
    lv_obj_set_style_border_width(textarea, 1, LV_PART_MAIN);
    lv_obj_set_style_radius(textarea, WIFI_REGISTER_FIELD_RADIUS, LV_PART_MAIN);
    lv_obj_set_style_pad_hor(textarea, WIFI_REGISTER_FIELD_PAD_H, LV_PART_MAIN);
    lv_obj_set_style_pad_ver(textarea, WIFI_REGISTER_FIELD_PAD_V, LV_PART_MAIN);
    lv_obj_set_style_text_font(textarea, &lv_font_montserrat_14, LV_PART_MAIN);
    lv_obj_set_style_text_color(textarea, lv_color_hex(SAMUS_BLUE), LV_PART_MAIN);
    lv_obj_set_style_text_color(textarea, accent, LV_PART_TEXTAREA_PLACEHOLDER);
    lv_textarea_set_one_line(textarea, true);
    lv_textarea_set_placeholder_text(textarea, placeholder);
    lv_textarea_set_max_length(textarea, max_length);
    lv_textarea_set_password_mode(textarea, password_mode);
    lv_obj_add_event_cb(textarea, gui_wifi_register_textarea_event, LV_EVENT_CLICKED, NULL);
    lv_obj_add_event_cb(textarea, gui_wifi_register_textarea_event, LV_EVENT_FOCUSED, NULL);

    return textarea;
}


/*****************************************************************************
                           INTERFACE IMPLEMENTATION
*****************************************************************************/
int gui_wifi_register_init(lv_obj_t *screen, lv_color_t accent)
{
    if (NULL == screen) {
        return -EINVAL;
    }

    if (NULL != register_screen) {
        return -EALREADY;
    }

    register_screen = screen;

    ssid_textarea = gui_wifi_register_create_textarea(screen, "SSID",
                                                      WIFI_REGISTER_SSID_X,
                                                      WIFI_REGISTER_SSID_WIDTH,
                                                      WIFI_REGISTER_SSID_MAX_LENGTH,
                                                      false, accent);
    password_textarea = gui_wifi_register_create_textarea(screen, "Password",
                                                          WIFI_REGISTER_PASSWORD_X,
                                                          WIFI_REGISTER_PASSWORD_WIDTH,
                                                          WIFI_REGISTER_PASSPHRASE_MAX_LENGTH,
                                                          true, accent);
    if ((NULL == ssid_textarea) || (NULL == password_textarea)) {
        return -ENOMEM;
    }

    register_action_button = lv_button_create(screen);
    if (NULL == register_action_button) {
        return -ENOMEM;
    }

    lv_obj_set_pos(register_action_button, WIFI_REGISTER_CONNECT_X, WIFI_REGISTER_FIELDS_Y);
    lv_obj_set_size(register_action_button, WIFI_REGISTER_CONNECT_WIDTH, WIFI_REGISTER_FIELDS_HEIGHT);
    lv_obj_set_style_bg_color(register_action_button, accent, LV_PART_MAIN);
    lv_obj_set_style_shadow_width(register_action_button, 0, LV_PART_MAIN);
    lv_obj_set_style_radius(register_action_button, WIFI_REGISTER_FIELD_RADIUS, LV_PART_MAIN);
    lv_obj_add_event_cb(register_action_button, gui_wifi_register_connect_event, LV_EVENT_CLICKED, NULL);

    register_action_label = lv_label_create(register_action_button);
    if (NULL == register_action_label) {
        return -ENOMEM;
    }

    lv_label_set_text(register_action_label, "Connect");
    lv_obj_set_style_text_color(register_action_label, lv_color_hex(CHOZO_DARK_BLUE), LV_PART_MAIN);
    lv_obj_set_style_text_font(register_action_label, &lv_font_montserrat_14, LV_PART_MAIN);
    lv_obj_center(register_action_label);

    register_status = lv_label_create(screen);
    if (NULL == register_status) {
        return -ENOMEM;
    }
    lv_obj_set_pos(register_status, WIFI_REGISTER_STATUS_X, WIFI_REGISTER_STATUS_Y);
    lv_obj_set_width(register_status, WIFI_REGISTER_STATUS_WIDTH);
    lv_label_set_long_mode(register_status, LV_LABEL_LONG_DOT);
    lv_obj_set_style_text_color(register_status, accent, LV_PART_MAIN);
    lv_obj_set_style_text_font(register_status, &lv_font_montserrat_14, LV_PART_MAIN);
    gui_wifi_register_set_status("Disconnected");

    register_keyboard = lv_keyboard_create(screen);
    if (NULL == register_keyboard) {
        return -ENOMEM;
    }

    lv_obj_set_size(register_keyboard, WIFI_REGISTER_KEYBOARD_WIDTH, WIFI_REGISTER_KEYBOARD_HEIGHT);
    lv_obj_align(register_keyboard, LV_ALIGN_TOP_LEFT, WIFI_REGISTER_KEYBOARD_X, WIFI_REGISTER_KEYBOARD_Y);
    lv_obj_set_size(register_keyboard, WIFI_REGISTER_KEYBOARD_WIDTH, WIFI_REGISTER_KEYBOARD_HEIGHT);
    lv_obj_set_style_bg_color(register_keyboard, lv_color_hex(CHOZO_DARK_BLUE), LV_PART_MAIN);
    lv_obj_set_style_bg_opa(register_keyboard, LV_OPA_COVER, LV_PART_MAIN);
    lv_obj_set_style_border_color(register_keyboard, accent, LV_PART_MAIN);
    lv_obj_set_style_border_width(register_keyboard, 1, LV_PART_MAIN);
    lv_obj_set_style_radius(register_keyboard, WIFI_REGISTER_FIELD_RADIUS, LV_PART_MAIN);
    lv_obj_set_style_pad_all(register_keyboard, WIFI_REGISTER_KEYBOARD_PAD, LV_PART_MAIN);
    lv_obj_set_style_pad_row(register_keyboard, WIFI_REGISTER_KEYBOARD_GAP, LV_PART_MAIN);
    lv_obj_set_style_pad_column(register_keyboard, WIFI_REGISTER_KEYBOARD_GAP, LV_PART_MAIN);

    lv_obj_set_style_bg_color(register_keyboard, accent, LV_PART_ITEMS);
    lv_obj_set_style_bg_opa(register_keyboard, LV_OPA_COVER, LV_PART_ITEMS);
    lv_obj_set_style_radius(register_keyboard, WIFI_REGISTER_KEYBOARD_RADIUS, LV_PART_ITEMS);
    lv_obj_set_style_text_color(register_keyboard, lv_color_hex(CHOZO_DARK_BLUE), LV_PART_ITEMS);
    lv_obj_set_style_text_font(register_keyboard, &lv_font_montserrat_14, LV_PART_ITEMS);

    lv_keyboard_set_textarea(register_keyboard, ssid_textarea);
    lv_obj_add_event_cb(register_keyboard, gui_wifi_register_keyboard_event, LV_EVENT_READY, NULL);
    lv_obj_add_event_cb(register_keyboard, gui_wifi_register_keyboard_event, LV_EVENT_CANCEL, NULL);

    return 0;
}

void gui_wifi_register_open(void)
{
    gui_wifi_register_refresh();
}

void gui_wifi_register_process(void)
{
    if (true == wifi_connection_process()) {
        gui_wifi_register_refresh();
    }
}

void gui_wifi_register_close(void)
{
    if (NULL != ssid_textarea) {
        lv_textarea_set_text(ssid_textarea, "");
    }

    if (NULL != password_textarea) {
        lv_textarea_set_text(password_textarea, "");
    }

    if ((NULL != register_keyboard) && (NULL != ssid_textarea)) {
        lv_keyboard_set_textarea(register_keyboard, ssid_textarea);
    }

    gui_wifi_register_refresh();
}
```
